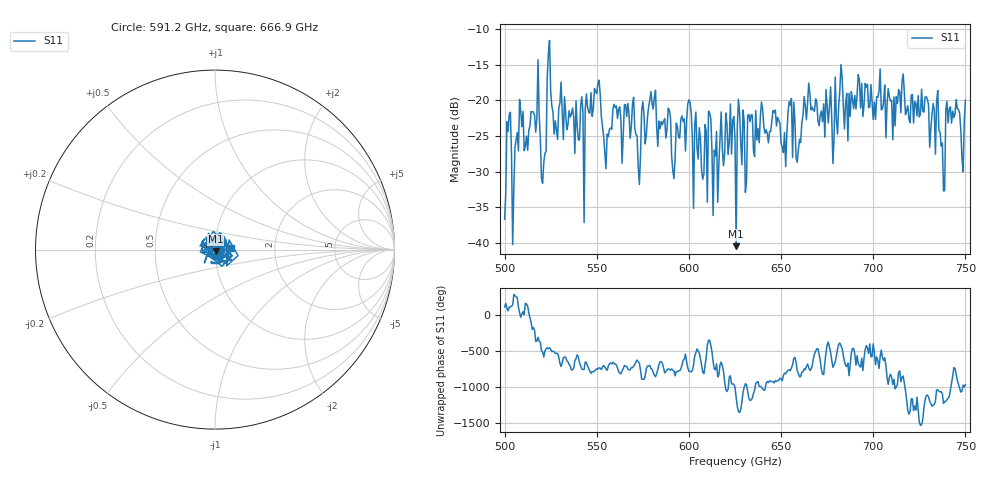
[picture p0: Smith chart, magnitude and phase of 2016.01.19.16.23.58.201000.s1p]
!Created with skrf (http://scikit-rf.org).
# GHz S RI R 50.0
!freq ReS11 ImS11
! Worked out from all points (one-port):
!   401 points, 500 GHz to 750 GHz, reference 50 ohm
!   lowest |S11| = -40.5 dB at 625.6 GHz (marker M1), VSWR 1.02, Z = 50.4 - j0.883 ohm
!   |S11| at or under -10 dB: start of sweep to end of sweep
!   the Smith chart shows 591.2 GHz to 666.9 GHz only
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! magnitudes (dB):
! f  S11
! 500 GHz  -36.7
! 502.5 GHz  -22.0
! 505 GHz  -32.5
! 508.8 GHz  -21.4
! 517.5 GHz  -22.5
! 521.2 GHz  -28.7
! 524.4 GHz  -11.6
! 527.5 GHz  -22.9
! 531.2 GHz  -21.5
! 550 GHz  -19.0
! 555 GHz  -29.6
! 562.5 GHz  -20.9
! 572.5 GHz  -29.4
! 580.6 GHz  -21.2
! 593.8 GHz  -23.6
! 600 GHz  -19.9
! 608.8 GHz  -23.4
! 625 GHz  -25.4
! 625.6 GHz  -40.5
! 656.2 GHz  -28.0
! 659.4 GHz  -26.9
! 663.8 GHz  -22.7
! 687.5 GHz  -22.3
! 718.8 GHz  -20.7
! 733.8 GHz  -27.5
! 737.5 GHz  -26.0
! 740.6 GHz  -23.1
! 750 GHz  -20.0
